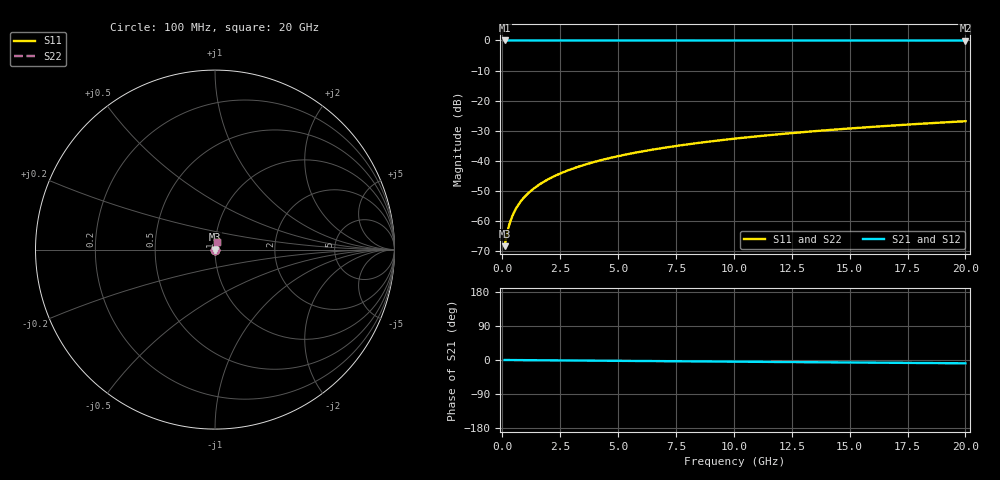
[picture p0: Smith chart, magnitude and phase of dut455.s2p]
! Touchstone file exported from HFSS 2026.1.0
!  File:  C:/ffzhzh/LocalFiles/Ansys_Project_Files/temp_train_TSV_455_1783021824_51716.aedt
!  Generated:  03:52:17 AM Jul  3, 2026
!  Design:  TSV
!  Project:  temp_train_TSV_455_1783021824_51716
! Variables:
!  h_bsmrdl = 2um
!  h_ox = 20um
!  h_rdl = 5um
!  h_sub = 83.47um
!  h_tmrdl = 5um
!  h_tsv = 83.47um
!  h_via = 3um
!  l_bsmrdl = 300um
!  l_sub = 412.84um
!  l_tmrdl = 200um
!  m_sub = 200um
!  pitch = 39.42um
!  r_tsv = 6.42um
!  s_tmrdl = 10um
!  w_bsmrdl = 18um
!  w_sub = 500um
!  w_tmrdl = 12um
!  x_tsv_center1 = 206um
!  x_tsv_center2 = 524um
!  x_tsv_center3 = 736um
!  x_tsv_center4 = 1054um
!  x_tsv_center5 = 1266um
!  x_tsv_center6 = 1584um
# GHz S MA R 50.000000
! Terminal data exported
! Port[1] = TSV1_1_T1
! Port[2] = TSV1_1_T2
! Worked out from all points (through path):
!   200 points, 100 MHz to 20 GHz, reference 50 ohm
!   highest |S21| = 0.00 dB at 100 MHz (marker M1); lowest = 0.0 dB at 20 GHz (marker M2)
!   group delay of S21, straight-line fit = 1.21 ps
!   lowest |S11| = -68.3 dB at 100 MHz (marker M3), VSWR 1.00, Z = 50 + j0.0275 ohm
!   |S11| at or under -10 dB: start of sweep to end of sweep
!   |S22| runs from -68.3 to -26.8 dB; largest |S21 - S12| = 2.3e-15
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0.1  0.0003834 45.8  0.9997 -0.0  0.9997 -0.0  0.0003834 45.8
! Gamma 0 0 0 0
! Port Impedance 50 0 50 0
0.2  0.0006143 63.0  0.9997 -0.1  0.9997 -0.1  0.0006143 63.0
0.3  0.0008683 70.1  0.9997 -0.1  0.9997 -0.1  0.0008683 70.1
0.4  0.001126 73.7  0.9997 -0.2  0.9997 -0.2  0.001126 73.7
0.5  0.001382 75.7  0.9997 -0.2  0.9997 -0.2  0.001382 75.7
0.6  0.001635 77.0  0.9996 -0.3  0.9996 -0.3  0.001635 77.0
0.7  0.001885 78.0  0.9996 -0.3  0.9996 -0.3  0.001885 78.0
0.8  0.002132 78.7  0.9996 -0.4  0.9996 -0.4  0.002132 78.7
1  0.002618 79.7  0.9995 -0.5  0.9995 -0.5  0.002618 79.7
1.4  0.003573 81.1  0.9995 -0.6  0.9995 -0.6  0.003573 81.1
1.7  0.004283 81.8  0.9994 -0.8  0.9994 -0.8  0.004283 81.8
2  0.004991 82.3  0.9994 -0.9  0.9994 -0.9  0.004991 82.3
2.7  0.006636 83.0  0.9993 -1.2  0.9993 -1.2  0.006636 83.0
3.5  0.008505 83.3  0.9992 -1.5  0.9992 -1.5  0.008505 83.3
4.2  0.01013 83.4  0.9991 -1.9  0.9991 -1.9  0.01013 83.4
5  0.01197 83.4  0.999 -2.2  0.999 -2.2  0.01197 83.4
6.8  0.01609 83.2  0.9988 -3.0  0.9988 -3.0  0.01609 83.2
8.3  0.01949 82.8  0.9986 -3.6  0.9986 -3.6  0.01949 82.8
10.1  0.02355 82.4  0.9984 -4.4  0.9984 -4.4  0.02355 82.4
13.4  0.03096 81.4  0.998 -5.9  0.998 -5.9  0.03096 81.4
16.7  0.03831 80.2  0.9976 -7.3  0.9976 -7.3  0.03831 80.2
20  0.0456 79.0  0.9971 -8.7  0.9971 -8.7  0.0456 79.0
